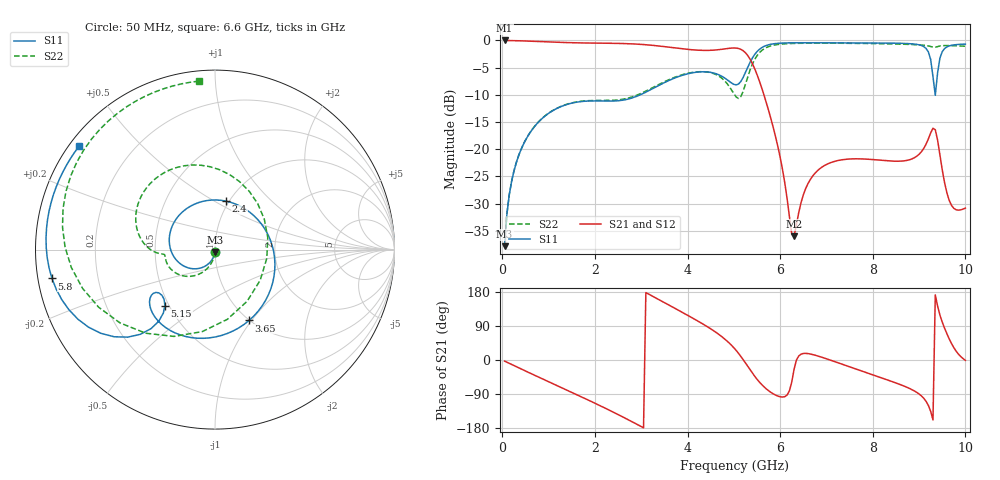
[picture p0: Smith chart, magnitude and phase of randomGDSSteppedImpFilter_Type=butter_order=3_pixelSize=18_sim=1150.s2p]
! freq	dB(S11)	phase(S11)	dB(S12)	phase(S12)
!  dB(S21)	phase(S21)	dB(S22)	phase(S22)
!S-par simulation data
#  GHz  S  DB  R 50
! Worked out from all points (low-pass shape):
!   200 points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, 50 MHz to 10 GHz, reference 50 ohm
!   highest |S21| = -0.01 dB at 50 MHz (marker M1); lowest = -36.0 dB at 6.3 GHz (marker M2)
!   |S21| within 3 dB of the highest: start of sweep to 5.317 GHz
!   lowest |S11| = -37.8 dB at 50 MHz (marker M3), VSWR 1.03, Z = 49.9 - j1.28 ohm
!   |S11| at or under -10 dB: start of sweep to 2.979 GHz; 9.348572 GHz to 9.351178 GHz (2.605 MHz wide, 0.0279 % of centre)
!   |S22| runs from -37.8 to -0.5 dB; largest |S21 - S12| = 0
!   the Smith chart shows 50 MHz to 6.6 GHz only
!   S11 on the Smith chart (normalised r, x): 50 MHz: 1.00, -0.03; 2.4 GHz: 0.97, +0.57; 3.65 GHz: 1.00, -0.97; 5.15 GHz: 0.48, -0.36; 5.8 GHz: 0.04, -0.09; 6.6 GHz: 0.03, +0.34
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0.05  -37.84 -92.8  -0.01 -3.0  -0.01 -3.0  -37.83 -91.6
0.2  -25.97 -103.9  -0.03 -11.7  -0.03 -11.7  -25.95 -99.6
0.5  -18.37 -125.0  -0.10 -29.0  -0.10 -29.0  -18.35 -113.9
1.75  -11.20 142.1  -0.47 -99.6  -0.47 -99.6  -11.15 -162.4
2.4  -11.15 77.3  -0.53 -137.8  -0.53 -137.8  -11.01 -173.8
3.4  -8.19 -40.1  -1.04 158.1  -1.04 158.1  -8.02 175.1
3.65  -7.17 -64.2  -1.30 141.5  -1.30 141.5  -7.03 166.2
4.65  -6.23 -137.1  -1.72 69.9  -1.72 69.9  -6.43 99.6
5.05  -8.18 -139.3  -1.41 25.3  -1.41 25.3  -10.41 13.0
5.15  -7.56 -131.8  -1.63 9.7  -1.63 9.7  -10.34 -34.0
5.4  -3.24 -134.9  -4.25 -34.4  -4.25 -34.4  -4.37 -129.6
5.8  -0.70 -169.9  -14.39 -85.4  -14.39 -85.4  -1.00 158.7
6.3  -0.43 158.3  -36.00 -24.8  -36.00 -24.8  -0.55 114.7
6.6  -0.43 142.7  -26.35 17.0  -26.35 17.0  -0.51 95.4
6.7  -0.43 137.8  -24.97 14.5  -24.97 14.5  -0.51 89.5
7.6  -0.46 96.4  -21.78 -22.3  -21.78 -22.3  -0.54 41.1
8.35  -0.49 62.8  -22.17 -54.0  -22.17 -54.0  -0.63 3.7
9.1  -1.13 20.9  -19.87 -100.9  -19.87 -100.9  -0.88 -32.7
9.3  -6.67 -0.9  -16.16 -158.2  -16.16 -158.2  -1.23 -41.4
9.35  -10.10 31.4  -16.43 171.9  -16.43 171.9  -1.26 -42.4
9.5  -2.07 43.1  -23.79 100.1  -23.79 100.1  -0.96 -48.7
10  -0.68 8.9  -30.84 -0.9  -30.84 -0.9  -1.07 -72.5
